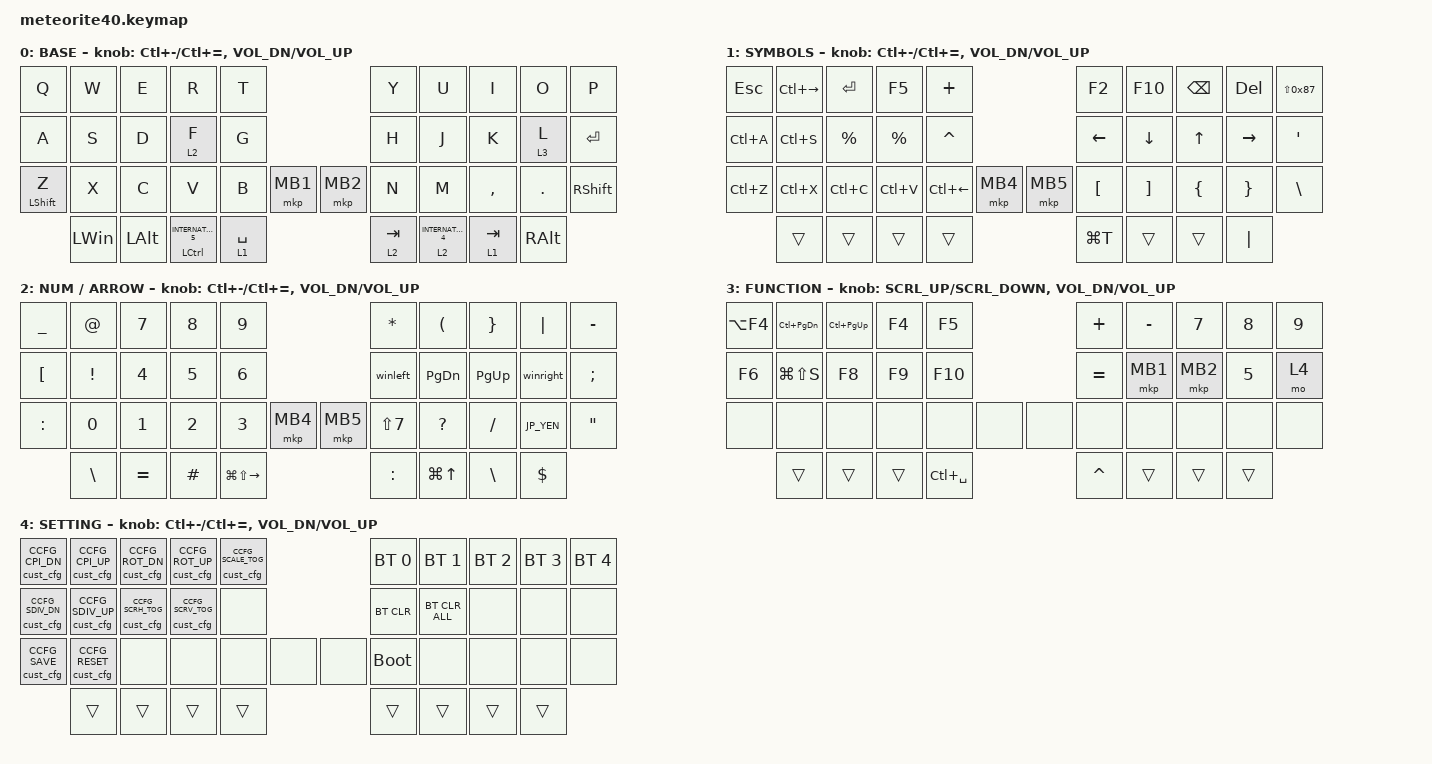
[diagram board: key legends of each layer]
#include <behaviors.dtsi>
#include <dt-bindings/zmk/bt.h>
#include <dt-bindings/zmk/keys.h>
#include <behaviors/custom_config.dtsi>
#include <dt-bindings/zmk/custom_config.h>

#define ZMK_POINTING_DEFAULT_SCRL_VAL 200
#include <dt-bindings/zmk/pointing.h>
#define JP_DQUOTE       AT                // "
#define JP_AMPERSAND    CARET             // &
#define JP_QUOTE        AMPERSAND         // '
#define JP_EQUAL        UNDER             // =
#define JP_CARET        EQUAL             // ^
#define JP_YEN          0x89              // ¥
#define JP_PLUS         COLON             // +
#define JP_TILDE        PLUS              // ~
#define JP_PIPE         LS(0x89)          // |
#define JP_AT           LEFT_BRACKET      // @
#define JP_COLON        SINGLE_QUOTE      // :
#define JP_ASTERISK     DOUBLE_QUOTES     // *
#define JP_BACKQUOTE    LEFT_BRACE        // `
#define JP_UNDERSCORE   LS(0x87)          // _
#define JP_LBRACKET     RIGHT_BRACKET     // [
#define JP_RBRACKET     BACKSLASH         // ]
#define JP_LPAREN       ASTERISK          // (
#define JP_RPAREN       LEFT_PARENTHESIS  // )
#define JP_LBRACE       RIGHT_BRACE       // {
#define JP_RBRACE       PIPE              // }

&mt { 
    flavor = "tap-preferred"; // change hold to tap 
    tapping-term-ms = <200>;
    quick-tap-ms = <150>; // change 200 to 150
};

&lt {
    flavor = "tap-preferred";
    tapping-term-ms = <150>; // change 200 to 150
    quick-tap-ms = <150>; // change 200 to 150
};

/ { 
    macros {
        to_layer_0: to_layer_0 {
            compatible = "zmk,behavior-macro-one-param";
            #binding-cells = <1>;
            bindings = <&to 0 &macro_param_1to1 &kp MACRO_PLACEHOLDER>;
            label = "TO_LAYER_0";
        };

        winleft: winleft {
            compatible = "zmk,behavior-macro";
            #binding-cells = <0>;
            bindings =
                <&macro_press &kp LEFT_GUI>,
                <&macro_tap &kp LEFT>,
                <&macro_release &kp LEFT_GUI>;
        };

        winright: winright {
            compatible = "zmk,behavior-macro";
            #binding-cells = <0>;
            bindings =
                <&macro_press &kp LEFT_GUI>,
                <&macro_tap &kp RIGHT>,
                <&macro_release &kp LEFT_GUI>;
        };
    };
    behaviors {
        mouse_scroll: mouse_wheel {
            compatible = "zmk,behavior-sensor-rotate-var";
            #sensor-binding-cells = <2>;
            bindings = <&msc>, <&msc>;
            tap-ms = <25>;
        };
    };

    combos {
        compatible = "zmk,combos";

        lang1 {
            bindings = <&kp LANG1>;
            key-positions = <12 13>; /* D + F */
            layers = <0>;
        };

        lang2 {
            bindings = <&kp LANG2>;
            key-positions = <16 17>; /* J + K */
            layers = <0>;
        };

        esc {
            bindings = <&kp ESCAPE>;
            key-positions = <20 21>; /* Z + X */
            layers = <0>;
        };

        tab {
            bindings = <&kp TAB>;
            key-positions = <0 1>; /* Q + W */
            layers = <0>;
        };

        home {
            bindings = <&kp HOME>;
            key-positions = <16 17>; /* J + K (on layer 2) */
            layers = <2>;
        };

        end {
            bindings = <&kp END>;
            key-positions = <18 19>; /* L + - (on layer 2) */
            layers = <2>;
        };

        ctrl_home {
            bindings = <&kp LC(HOME)>;
            key-positions = <16 18>; /* J + L (on layer 2) */
            layers = <2>;
        };

        ctrl_end {
            bindings = <&kp LC(END)>;
            key-positions = <17 19>; /* K + - (on layer 2) */
            layers = <2>;
        };
    };

    keymap {
        compatible = "zmk,keymap";
        layout = &LAYOUT_2U_SPACE;

        win_default_layer {
            display-name = "BASE";
            bindings = <
                &kp Q             &kp W       &kp E        &kp R        &kp T                                 &kp Y        &kp U       &kp I       &kp O  &kp P
                &kp A             &kp S       &kp D        &lt 2 F      &kp G                                 &kp H        &kp J       &kp K       &lt 3 L  &kp ENTER
                &mt LEFT_SHIFT Z  &kp X       &kp C        &kp V        &kp B        &mkp MB1     &mkp MB2    &kp N        &kp M       &kp COMMA   &kp PERIOD  &kp RIGHT_SHIFT
                                    &kp LWIN  &kp LEFT_ALT &mt LCTRL INTERNATIONAL_5 &lt 1 SPACE  &lt 2 TAB   &lt 2 INTERNATIONAL_4    &lt 1 TAB   &kp RALT
            >;

            sensor-bindings =
                <&inc_dec_kp LC(MINUS) LC(EQUAL)>, // RE0: ctrl + - / +,,,
                <&inc_dec_kp C_VOL_DN C_VOL_UP>; // RE1: volume down/up
                //<&mouse_scroll SCRL_LEFT SCRL_RIGHT>,
			    //<&mouse_scroll SCRL_UP SCRL_DOWN>;

        };

        layer_1 {
            display-name = "SYMBOLS";
            bindings = <
                &kp ESCAPE  &kp LC(RIGHT)  &kp ENTER    &kp F5       &kp PLUS                       &kp F2            &kp F10            &kp BACKSPACE   &kp DELETE       &kp JP_UNDERSCORE
                &kp LC(A)   &kp LC(S)      &kp PERCENT  &kp PERCENT  &kp JP_AMPERSAND               &kp LEFT          &kp DOWN           &kp UP_ARROW    &kp RIGHT        &kp JP_COLON
                &kp LC(Z)   &kp LC(X)      &kp LC(C)    &kp LC(V)    &kp LC(LEFT)      &mkp MB4  &mkp MB5   &kp LEFT_BRACKET  &kp RIGHT_BRACKET  &kp LEFT_BRACE  &kp RIGHT_BRACE  &kp BACKSLASH
                                     &trans     &trans    &trans    &trans    &kp LG(T)          &trans          &trans           &kp PIPE
            >;

            sensor-bindings =
                <&inc_dec_kp LC(MINUS) LC(EQUAL)>, // RE0: ctrl + - / +,,,
                <&inc_dec_kp C_VOL_DN C_VOL_UP>; // RE1: volume down/up
                //<&mouse_scroll SCRL_LEFT SCRL_RIGHT>,
				//<&mouse_scroll SCRL_UP SCRL_DOWN>;
        };

        layer_2 {
            display-name = "NUM / ARROW";
            bindings = <
                &kp JP_EQUAL   &kp JP_DQUOTE    &kp N7        &kp N8        &kp N9                        &kp JP_LPAREN       &kp JP_RPAREN  &kp JP_LBRACE     &kp JP_RBRACE  &kp MINUS
                &kp JP_AT      &kp EXCLAMATION  &kp NUMBER_4  &kp N5        &kp NUMBER_6                       &winleft  &kp PG_DN      &kp PG_UP         &winright  &kp SEMICOLON
                &kp JP_PLUS    &kp N0           &kp NUMBER_1  &kp NUMBER_2  &kp NUMBER_3   &mkp MB4   &mkp MB5   &kp LS(NUMBER_7)    &kp QUESTION   &kp SLASH         &kp JP_YEN     &kp JP_ASTERISK
                                        &kp BACKSLASH  &kp JP_CARET     &kp HASH      &kp LG(LS(RIGHT))   &kp COLON      &kp LG(UP_ARROW)  &kp BACKSLASH  &kp DOLLAR
            >;

            sensor-bindings =
                <&inc_dec_kp LC(MINUS) LC(EQUAL)>, // RE0: ctrl + - / +,,,
                <&inc_dec_kp C_VOL_DN C_VOL_UP>; // RE1: volume down/up

        };

        layer_3 {
            display-name = "FUNCTION";
            bindings = <
                &kp LA(F4)  &kp LC(PG_DN)  &kp LC(PG_UP)  &kp F4  &kp F5                  &kp PLUS      &kp MINUS   &kp NUMBER_7   &kp NUMBER_8   &kp NUMBER_9
                &kp F6      &kp LG(LS(S))  &kp F8         &kp F9  &kp F10                   &kp EQUAL     &mkp MB1    &mkp MB2       &kp N5         &mo 4
                &none   &none   &none   &none   &none   &none   &none   &none   &none   &none    &none  &none
                                &trans  &trans  &trans  &kp LC(SPACE)  &kp CARET  &trans  &trans  &trans
            >;

            sensor-bindings =
                <&mouse_scroll SCRL_UP SCRL_DOWN>,
                <&inc_dec_kp C_VOL_DN C_VOL_UP>; // RE1: volume down/up
        };

        layer_4 {
			display-name = "SETTING";
			bindings = <
				&cust_cfg CCFG_CPI_DN  &cust_cfg CCFG_CPI_UP  &cust_cfg CCFG_ROT_DN   &cust_cfg CCFG_ROT_UP   &cust_cfg CCFG_SCALE_TOG                  &bt BT_SEL 0   &bt BT_SEL 1    &bt BT_SEL 2  &bt BT_SEL 3  &bt BT_SEL 4
				&cust_cfg CCFG_SDIV_DN &cust_cfg CCFG_SDIV_UP &cust_cfg CCFG_SCRH_TOG &cust_cfg CCFG_SCRV_TOG &none                                     &bt BT_CLR     &bt BT_CLR_ALL  &none         &none         &none
				&cust_cfg CCFG_SAVE    &cust_cfg CCFG_RESET   &none                   &none                   &none                    &none &none      &bootloader    &none           &none         &none         &none
												                                                 &trans       &trans  &trans  &trans  &trans  &trans    &trans        &trans
			>;

            sensor-bindings =
                <&inc_dec_kp LC(MINUS) LC(EQUAL)>, // RE0: ctrl + - / +,,,
                <&inc_dec_kp C_VOL_DN C_VOL_UP>; // RE1: volume down/up

        };
    };
};
